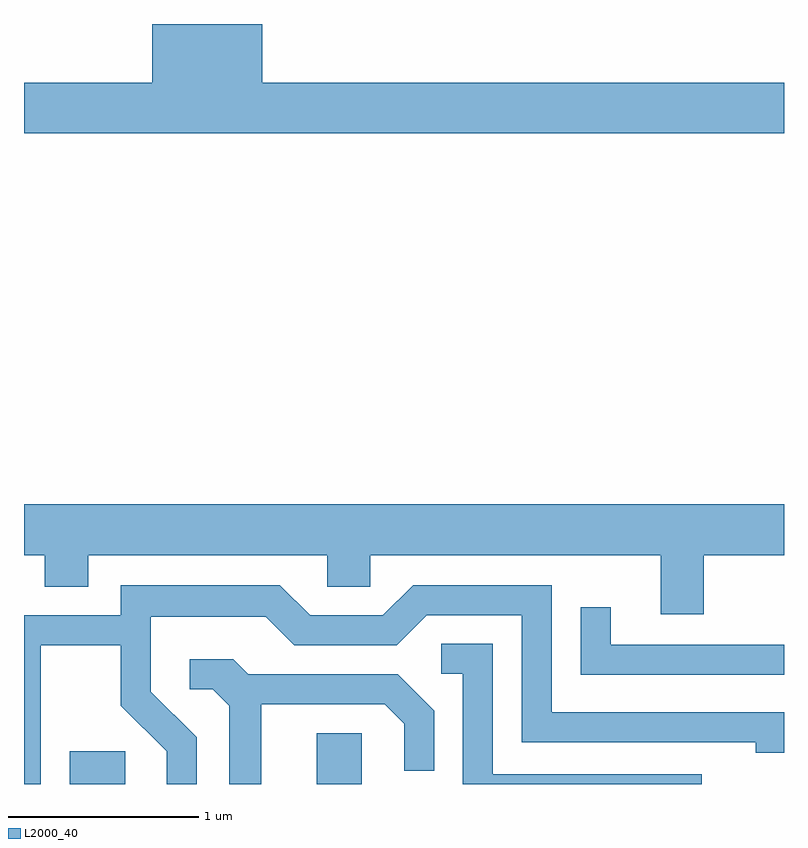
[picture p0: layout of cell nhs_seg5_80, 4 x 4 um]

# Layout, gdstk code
import gdstk
lib = gdstk.Library(unit=1e-6, precision=1e-09)
def R(c, l, rs):  # rectangles x0, y0, x1, y1
    for r in rs: c.add(gdstk.rectangle(r[:2], r[2:], *l))
def P(c, l, *ps):  # polygons
    for p in ps: c.add(gdstk.Polygon(p, *l))
L2000_40 = (2000, 40)

nhs_seg5_80 = lib.new_cell('nhs_seg5_80')
R(nhs_seg5_80, L2000_40, [(187.851,1420.072,188.144,1420.244), (189.151,1420.072,189.389,1420.339)])
P(nhs_seg5_80, L2000_40, [(191.611,1423.764),(188.864,1423.764),(188.864,1424.072),(188.286,1424.072),(188.286,1423.764),(187.611,1423.764),(187.611,1423.496),(191.611,1423.496)],
  [(191.189,1421.276),(191.611,1421.276),(191.611,1421.544),(187.611,1421.544),(187.611,1421.276),(187.721,1421.276),(187.721,1421.111),(187.949,1421.111),(187.949,1421.276),(189.206,1421.276),(189.206,1421.111),(189.434,1421.111),(189.434,1421.276),(190.961,1421.276),(190.961,1420.966),(191.189,1420.966)],
  [(187.699,1420.801),(188.121,1420.801),(188.121,1420.484),(188.361,1420.244),(188.361,1420.072),(188.519,1420.072),(188.519,1420.317),(188.279,1420.557),(188.279,1420.951),(188.884,1420.951),(189.034,1420.801),(189.572,1420.801),(189.732,1420.961),(190.231,1420.961),(190.231,1420.291),(191.461,1420.291),(191.461,1420.236),(191.611,1420.236),(191.611,1420.449),(190.389,1420.449),(190.389,1421.119),(189.659,1421.119),(189.499,1420.959),(189.117,1420.959),(188.957,1421.119),(188.121,1421.119),(188.121,1420.959),(187.611,1420.959),(187.611,1420.072),(187.699,1420.072)],
  [(191.611,1420.804),(190.699,1420.804),(190.699,1421.003),(190.541,1421.003),(190.541,1420.646),(191.611,1420.646)],
  [(191.178,1420.124),(190.079,1420.124),(190.079,1420.809),(189.808,1420.809),(189.808,1420.651),(189.921,1420.651),(189.921,1420.072),(191.178,1420.072)],
  [(188.859,1420.491),(189.509,1420.491),(189.611,1420.389),(189.611,1420.143),(189.769,1420.143),(189.769,1420.457),(189.577,1420.649),(188.792,1420.649),(188.712,1420.729),(188.483,1420.729),(188.483,1420.571),(188.604,1420.571),(188.691,1420.484),(188.691,1420.072),(188.859,1420.072)])

lib.write_gds('nhs_seg5_80.gds')
